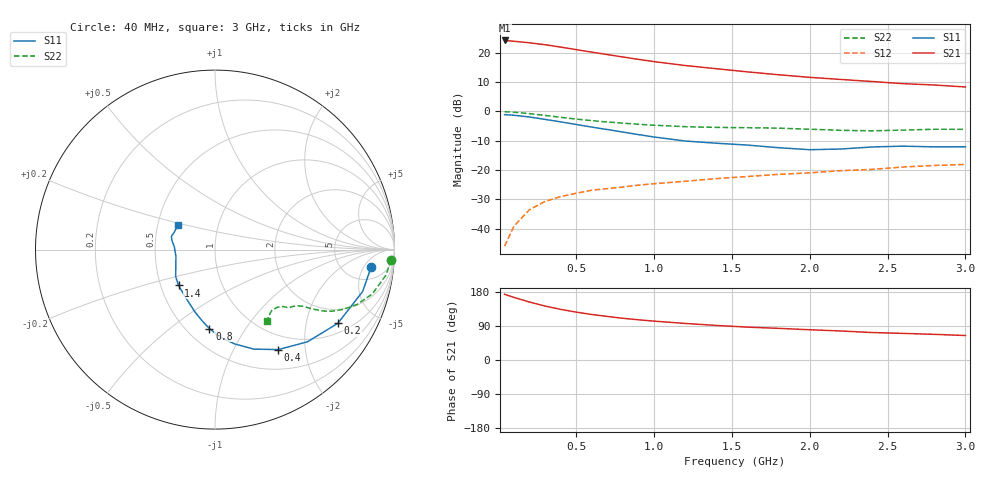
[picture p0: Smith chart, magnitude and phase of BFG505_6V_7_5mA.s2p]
! Filename:  BFG505L.S2P  Version:  3.0
! Philips part #: BFG505  Date: Feb 1992
! Bias condition: Vce=6V, Ic=7.5mA
! IN LINE PINNING: same data as with cross emitter pinning.
#  MHz  S  MA  R  50
! Freq  S11  S21  S12  S22  !GUM [dB]
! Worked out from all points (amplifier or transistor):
!   21 points, 40 MHz to 3 GHz, reference 50 ohm
!   highest |S21| = 24.2 dB at 40 MHz (marker M1)
!   |S21| within 3 dB of that: start of sweep to 485.2 MHz
!   unconditionally stable (mu >= 1): 1.633 GHz to end of sweep
!   at 300 MHz: K = 0.31, MSG = 26.7 dB, |S12| = -30.8 dB
!   at 1 GHz: K = 0.80, MSG = 20.8 dB, |S12| = -24.7 dB
!   at 3 GHz: K = 1.17, MAG = 10.7 dB, |S12| = -18.1 dB
!   S11 on the Smith chart (normalised r, x): 40 MHz: 9, -7; 200 MHz: 1.35, -3.06; 400 MHz: 0.77, -1.53; 800 MHz: 0.64, -0.70; 1.4 GHz: 0.62, -0.27; 3 GHz: 0.64, +0.19
40  0.875 -6.5  16.13 173.3  0.005 85.2  0.982 -3.3
100  0.855 -15.9  15.63 165.1  0.011 80.2  0.964 -8.4
200  0.798 -31.0  14.71 153.0  0.021 73.4  0.911 -15.7
300  0.727 -45.0  13.64 142.3  0.029 67.1  0.849 -21.1
400  0.659 -57.7  12.43 133.6  0.035 63.3  0.788 -25.0
500  0.595 -68.7  11.25 126.3  0.04 60.2  0.736 -27.8
600  0.537 -78.2  10.19 120.1  0.045 59.2  0.692 -29.6
700  0.488 -86.6  9.265 114.9  0.048 58.5  0.656 -30.7
800  0.441 -94.1  8.432 110.1  0.051 57.8  0.627 -31.6
900  0.4 -100.8  7.661 106.1  0.055 57.7  0.6 -32.3
1000  0.364 -108.0  7.027 102.6  0.058 58.2  0.578 -33.0
1200  0.311 -122.3  6.027 96.5  0.064 58.7  0.546 -35.0
1400  0.285 -135.5  5.317 91.2  0.071 59.2  0.531 -37.1
1600  0.265 -145.8  4.694 86.7  0.077 61.1  0.524 -38.3
1800  0.239 -156.0  4.195 83.5  0.084 61.6  0.515 -38.8
2000  0.221 -170.0  3.789 79.8  0.089 62.0  0.494 -39.9
2200  0.227 176.2  3.487 76.6  0.097 61.9  0.473 -42.7
2400  0.246 167.8  3.219 72.5  0.102 62.5  0.464 -47.2
2600  0.254 162.9  2.956 70.2  0.112 63.1  0.477 -51.4
2800  0.247 157.0  2.803 67.7  0.119 63.1  0.493 -53.4
3000  0.248 146.6  2.596 64.6  0.124 63.7  0.492 -53.9
